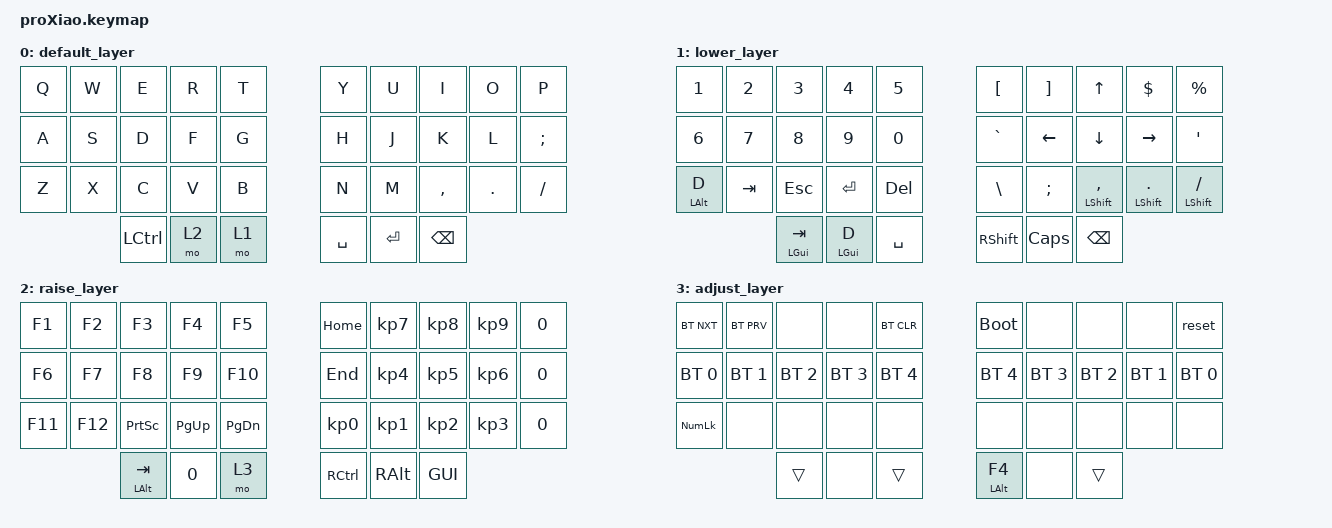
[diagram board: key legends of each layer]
/*
 * Copyright (c) 2020 The ZMK Contributors
 *
 * SPDX-License-Identifier: MIT
 */

#include <behaviors.dtsi>
#include <dt-bindings/zmk/keys.h>
#include <dt-bindings/zmk/bt.h>
#include <dt-bindings/zmk/outputs.h>

#define DEF 0
#define LWR 1
#define RSE 2
#define ADJ 3

/ {
    combos {
        compatible = "zmk,combos";
        combo_esc {
            timeout-ms = <50>;
            key-positions = <0 34>;
            bindings = <&kp ESC>;
            layers = <0>;
        };
        
        combo_tab {
            timeout-ms = <50>;
            key-positions = <1 34>;
            bindings = <&kp TAB>;
            layers = <0>;
        };
        
        combo_capslock {
            timeout-ms = <50>;
            key-positions = <10 34>;
            bindings = <&kp CLCK>;
            layers = <0>;
        };
        
        combo_shift {
            timeout-ms = <50>;
            key-positions = <34 35>;
            bindings = <&kp LSHFT>;
            layers = <0>;
        };
        
        combo_colon {
            timeout-ms = <50>;
            key-positions = <19 35>;
            bindings = <&kp COLON>;
            layers = <0>;
        };
        
        combo_lt {
            timeout-ms = <50>;
            key-positions = <27 35>;
            bindings = <&kp LT>;
            layers = <0>;
        };
        
        combo_gt {
            timeout-ms = <50>;
            key-positions = <28 35>;
            bindings = <&kp GT>;
            layers = <0>;
        };
        
        combo_qmark {
            timeout-ms = <50>;
            key-positions = <29 35>;
            bindings = <&kp QMARK>;
            layers = <0>;
        };
        
        combo_dqt {
            timeout-ms = <50>;
            key-positions = <19 36>;
            bindings = <&kp DQT>;
            layers = <0>;
        }; 
    };
};

/ {
        keymap {
                compatible = "zmk,keymap";

                default_layer {
                        bindings = <
  &kp Q &kp W &kp E &kp R &kp T               &kp Y  &kp U  &kp I     &kp O   &kp P 
  &kp A &kp S &kp D &kp F &kp G               &kp H  &kp J  &kp K     &kp L   &kp SEMI
  &kp Z &kp X &kp C &kp V &kp B               &kp N  &kp M  &kp COMMA &kp DOT &kp FSLH
          &kp LCTRL &mo 2 &mo 1               &kp SPACE &kp ENTER &kp BSPC
                        >;
                };
                
                
                lower_layer {
                        bindings = <
 &kp N1     &kp N2     &kp N3     &kp N4      &kp N5                   &kp LBKT     &kp RBKT    &kp UP     &kp DLLR  &kp PRCNT
 &kp N6     &kp N7     &kp N8     &kp N9      &kp N0                   &kp GRAVE    &kp LEFT    &kp DOWN   &kp RIGHT &kp APOS
 &mt LALT D   &kp TAB     &kp ESC     &kp ENTER      &kp DEL                  &kp BSLH     &kp SEMI   &mt LSHFT COMMA  &mt LSHFT DOT  &mt LSHFT FSLH
                                  &mt LGUI TAB &mt LGUI D &kp SPACE        &kp RSHFT    &kp CLCK        &kp BSPC
                        >;
                };
                raise_layer {
                        bindings = <
&kp F1   &kp F2   &kp F3    &kp F4     &kp F5                                 &kp HOME     &kp KP_N7    &kp KP_N8     &kp KP_N9    &kp N0
&kp F6   &kp F7   &kp F8    &kp F9     &kp F10                                &kp END      &kp KP_N4    &kp KP_N5     &kp KP_N6    &kp N0 
&kp F11  &kp F12  &kp PSCRN  &kp PG_UP  &kp PG_DN                              &kp KP_N0    &kp KP_N1    &kp KP_N2    &kp KP_N3   &kp N0
                            &mt LALT TAB   &kp N0       &mo 3        &kp RCTRL  &kp RALT  &kp GUI
                        >; 
                };
                                adjust_layer {
                        bindings = <
&bt BT_NXT        &bt BT_PRV        &none        &none        &bt BT_CLR                             &bootloader        &none        &none        &none        &reset
&bt BT_SEL 0  &bt BT_SEL 1 &bt BT_SEL 2 &bt BT_SEL 3 &bt BT_SEL 4                      &bt BT_SEL 4 &bt BT_SEL 3 &bt BT_SEL 2 &bt BT_SEL 1 &bt BT_SEL 0
&kp KP_NUM    &none        &none        &none        &none                             &none        &none        &none        &none        &none
                                         &trans       &none     &trans           &mt LALT F4 &none        &trans
                        >;
                };
        };
};
